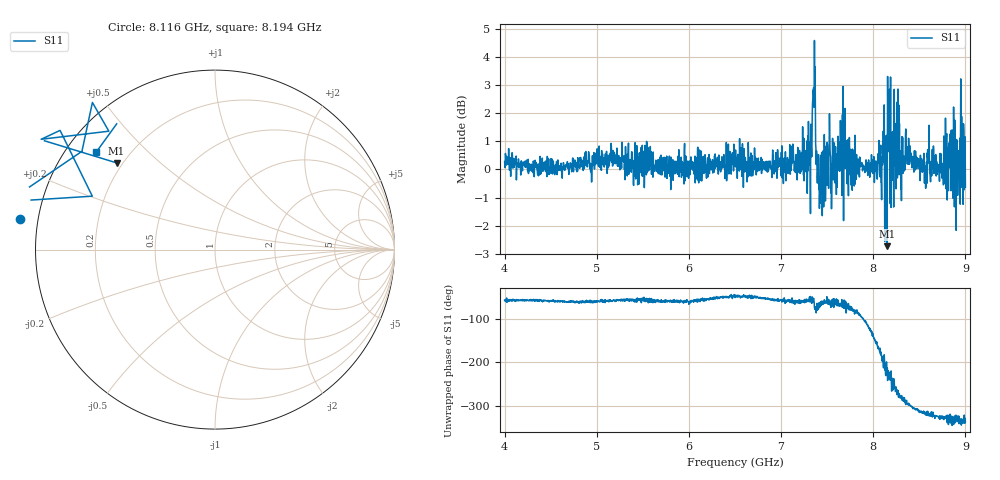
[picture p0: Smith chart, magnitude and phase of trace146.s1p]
! Created with skrf 1.8.0 (http://scikit-rf.org).
# Hz S RI R 50.0
!freq ReS11 ImS11
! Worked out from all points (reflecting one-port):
!   1601 points, 4 GHz to 9 GHz, reference 50 ohm
!   lowest |S11| = -2.7 dB at 8.15 GHz (marker M1), VSWR 6.43, Z = 8.86 + j18.4 ohm
!   phase of S11 starts at -57 deg and turns -279 deg over the sweep
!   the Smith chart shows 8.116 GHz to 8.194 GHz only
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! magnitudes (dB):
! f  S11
! 4 GHz  0.3
! 4.625 GHz  -0.3
! 5.25 GHz  0.0
! 5.875 GHz  0.0
! 6.5 GHz  0.2
! 7.125 GHz  0.3
! 7.294 GHz  0.0
! 7.309 GHz  0.4
! 7.347 GHz  2.8
! 7.366 GHz  2.5
! 7.4 GHz  0.0
! 7.425 GHz  -0.4
! 7.512 GHz  0.1
! 7.606 GHz  -0.6
! 7.669 GHz  0.3
! 7.75 GHz  0.6
! 8.022 GHz  -0.1
! 8.15 GHz  -2.7
! 8.162 GHz  1.0
! 8.209 GHz  1.3
! 8.253 GHz  0.3
! 8.312 GHz  1.2
! 8.375 GHz  0.5
! 8.556 GHz  -0.5
! 8.822 GHz  0.9
! 8.919 GHz  -0.3
! 8.972 GHz  0.5
! 9 GHz  -0.6
